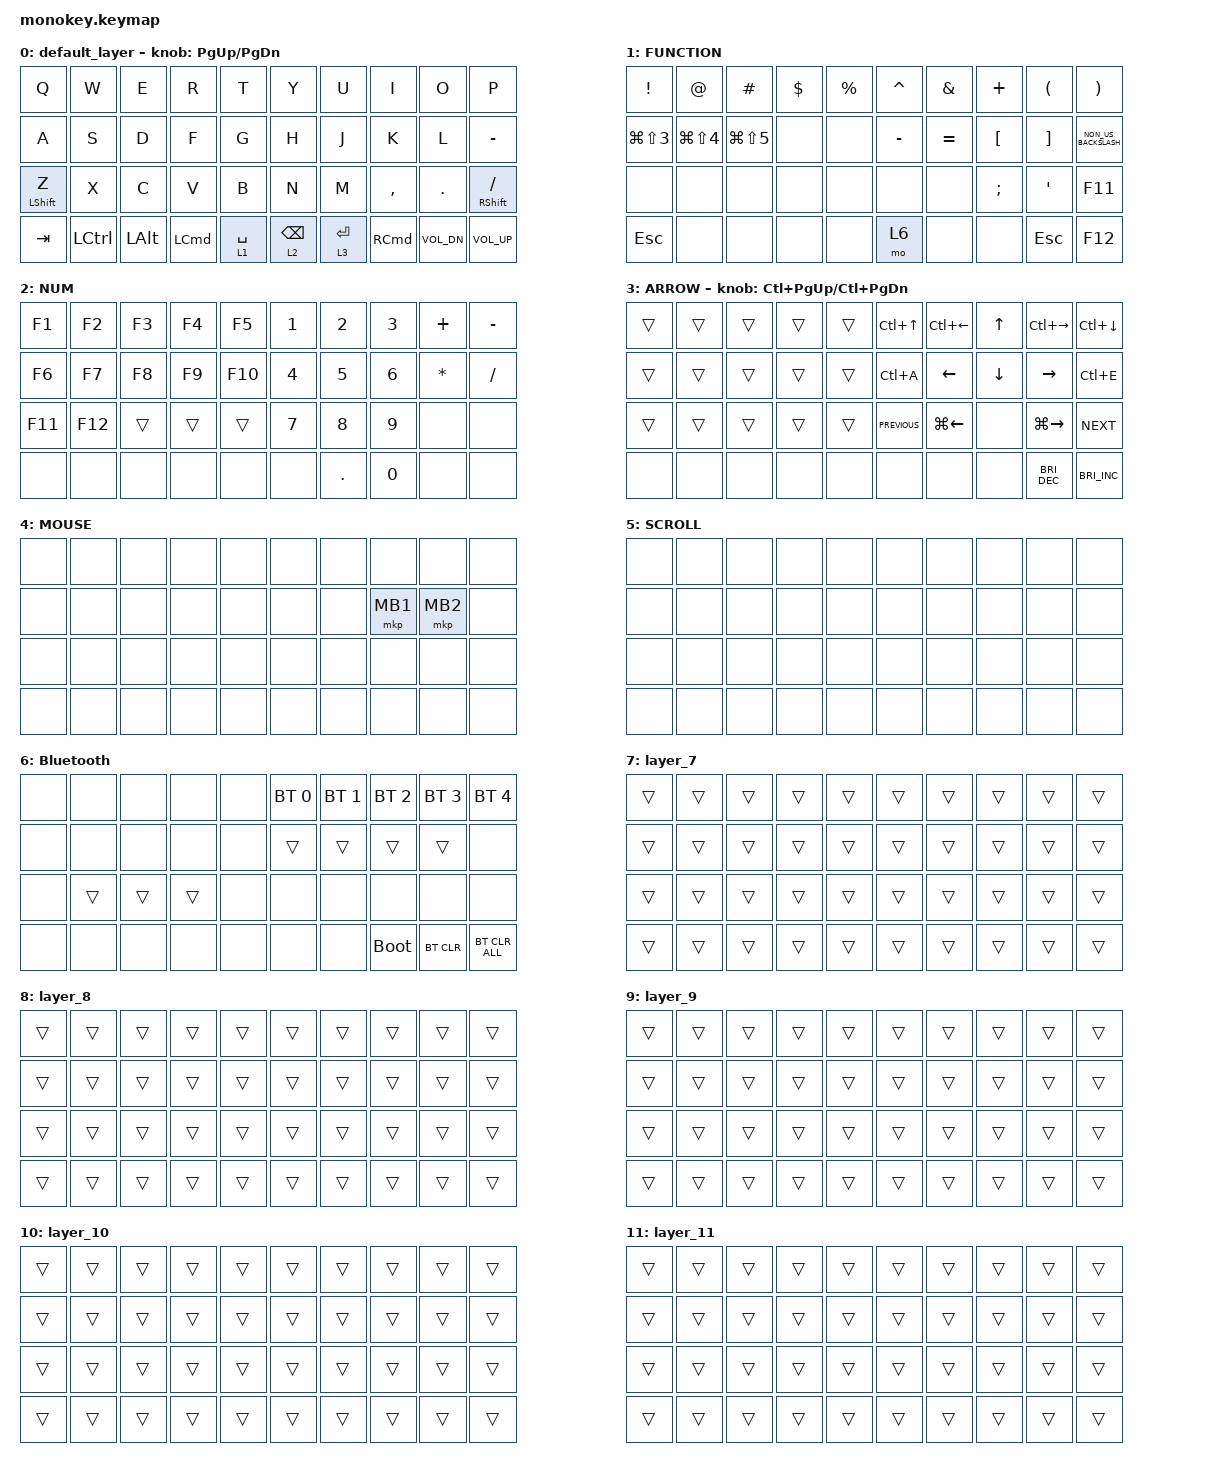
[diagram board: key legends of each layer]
#include <behaviors.dtsi>
#include <dt-bindings/zmk/bt.h>
#include <dt-bindings/zmk/keys.h>
#include <dt-bindings/zmk/pointing.h>

&mt {
    flavor = "tap-preferred";
    tapping-term-ms = <150>;
    quick-tap-ms = <250>;
};

&lt {
    flavor = "tap-preferred";
    tapping-term-ms = <150>;
    quick-tap-ms = <250>;
};

/ {
    combos {
        compatible = "zmk,combos";

        manus {
            bindings = <&kp A>;
            key-positions = <8 9>;
            timeout-ms = <51>;
        };

    };

    keymap {
        compatible = "zmk,keymap";

        default_layer {
            bindings = <
&kp Q  &kp W  &kp E  &kp R  &kp T    &kp Y  &kp U  &kp I  &kp O  &kp P
&kp A  &kp S  &kp D  &kp F  &kp G    &kp H  &kp J  &kp K  &kp L  &kp MINUS
&mt LEFT_SHIFT Z  &kp X  &kp C  &kp V  &kp B    &kp N  &kp M  &kp COMMA  &kp PERIOD  &mt RIGHT_SHIFT SLASH
&kp TAB  &kp LCTRL  &kp LALT  &kp LEFT_COMMAND  &lt 1 SPACE  &lt 2 BACKSPACE    &lt 3 ENTER  &kp RIGHT_COMMAND  &kp C_VOL_DN  &kp C_VOLUME_UP
            >;

            sensor-bindings = <&inc_dec_kp PG_UP PAGE_DOWN>;
        };

        FUNCTION {
            bindings = <
&kp EXCLAMATION  &kp AT_SIGN  &kp HASH  &kp DOLLAR  &kp PERCENT    &kp CARET  &kp AMPERSAND  &kp PLUS  &kp LEFT_PARENTHESIS  &kp RIGHT_PARENTHESIS
&kp LG(LS(N3))  &kp LG(LS(N4))  &kp LG(LS(N5))  &none  &none    &kp MINUS  &kp EQUAL  &kp LEFT_BRACKET  &kp RIGHT_BRACKET  &kp NON_US_BACKSLASH
&none  &none  &none  &none  &none    &none  &none  &kp SEMICOLON  &kp SINGLE_QUOTE  &kp F11
&kp ESCAPE  &none  &none  &none  &none  &mo 6    &none  &none  &kp ESCAPE  &kp F12
            >;
        };

        NUM {
            bindings = <
&kp F1  &kp F2  &kp F3  &kp F4  &kp F5    &kp N1  &kp N2  &kp N3  &kp PLUS  &kp MINUS
&kp F6  &kp F7  &kp F8  &kp F9  &kp F10    &kp N4  &kp N5  &kp N6  &kp ASTERISK  &kp SLASH
&kp F11  &kp F12  &trans  &trans  &trans    &kp N7  &kp N8  &kp N9  &none  &none
&none  &none  &none  &none  &none  &none    &kp PERIOD  &kp N0  &none  &none
            >;
        };

        ARROW {
            bindings = <
&trans  &trans  &trans  &trans  &trans    &kp LC(UP_ARROW)  &kp LC(LEFT_ARROW)  &kp UP_ARROW  &kp LC(RIGHT_ARROW)  &kp LC(DOWN_ARROW)
&trans  &trans  &trans  &trans  &trans    &kp LC(A)  &kp LEFT_ARROW  &kp DOWN_ARROW  &kp RIGHT_ARROW  &kp LC(E)
&trans  &trans  &trans  &trans  &trans    &kp C_PREVIOUS  &kp LG(LEFT_ARROW)  &none  &kp LG(RIGHT_ARROW)  &kp C_NEXT
&none  &none  &none  &none  &none  &none    &none  &none  &kp C_BRI_DEC  &kp C_BRI_INC
            >;

            sensor-bindings = <&inc_dec_kp LC(PAGE_UP) LC(PAGE_DOWN)>;
        };

        MOUSE {
            bindings = <
&none  &none  &none  &none  &none    &none  &none  &none  &none  &none
&none  &none  &none  &none  &none    &none  &none  &mkp MB1  &mkp MB2  &none
&none  &none  &none  &none  &none    &none  &none  &none  &none  &none
&none  &none  &none  &none  &none  &none    &none  &none  &none  &none
            >;
        };

        SCROLL {
            bindings = <
&none  &none  &none  &none  &none    &none  &none  &none  &none  &none
&none  &none  &none  &none  &none    &none  &none  &none  &none  &none
&none  &none  &none  &none  &none    &none  &none  &none  &none  &none
&none  &none  &none  &none  &none  &none    &none  &none  &none  &none
            >;
        };

        Bluetooth {
            bindings = <
&none  &none  &none  &none  &none    &bt BT_SEL 0  &bt BT_SEL 1  &bt BT_SEL 2  &bt BT_SEL 3  &bt BT_SEL 4
&none  &none  &none  &none  &none    &trans  &trans  &trans  &trans  &none
&none  &trans  &trans  &trans  &none    &none  &none  &none  &none  &none
&none  &none  &none  &none  &none  &none    &none  &bootloader  &bt BT_CLR  &bt BT_CLR_ALL
            >;
        };

        layer_7 {
            bindings = <
&trans  &trans  &trans  &trans  &trans    &trans  &trans  &trans  &trans  &trans
&trans  &trans  &trans  &trans  &trans    &trans  &trans  &trans  &trans  &trans
&trans  &trans  &trans  &trans  &trans    &trans  &trans  &trans  &trans  &trans
&trans  &trans  &trans  &trans  &trans  &trans    &trans  &trans  &trans  &trans
            >;
        };

        layer_8 {
            bindings = <
&trans  &trans  &trans  &trans  &trans    &trans  &trans  &trans  &trans  &trans
&trans  &trans  &trans  &trans  &trans    &trans  &trans  &trans  &trans  &trans
&trans  &trans  &trans  &trans  &trans    &trans  &trans  &trans  &trans  &trans
&trans  &trans  &trans  &trans  &trans  &trans    &trans  &trans  &trans  &trans
            >;
        };

        layer_9 {
            bindings = <
&trans  &trans  &trans  &trans  &trans    &trans  &trans  &trans  &trans  &trans
&trans  &trans  &trans  &trans  &trans    &trans  &trans  &trans  &trans  &trans
&trans  &trans  &trans  &trans  &trans    &trans  &trans  &trans  &trans  &trans
&trans  &trans  &trans  &trans  &trans  &trans    &trans  &trans  &trans  &trans
            >;
        };

        layer_10 {
            bindings = <
&trans  &trans  &trans  &trans  &trans    &trans  &trans  &trans  &trans  &trans
&trans  &trans  &trans  &trans  &trans    &trans  &trans  &trans  &trans  &trans
&trans  &trans  &trans  &trans  &trans    &trans  &trans  &trans  &trans  &trans
&trans  &trans  &trans  &trans  &trans  &trans    &trans  &trans  &trans  &trans
            >;
        };

        layer_11 {
            bindings = <
&trans  &trans  &trans  &trans  &trans    &trans  &trans  &trans  &trans  &trans
&trans  &trans  &trans  &trans  &trans    &trans  &trans  &trans  &trans  &trans
&trans  &trans  &trans  &trans  &trans    &trans  &trans  &trans  &trans  &trans
&trans  &trans  &trans  &trans  &trans  &trans    &trans  &trans  &trans  &trans
            >;
        };

    };
};
